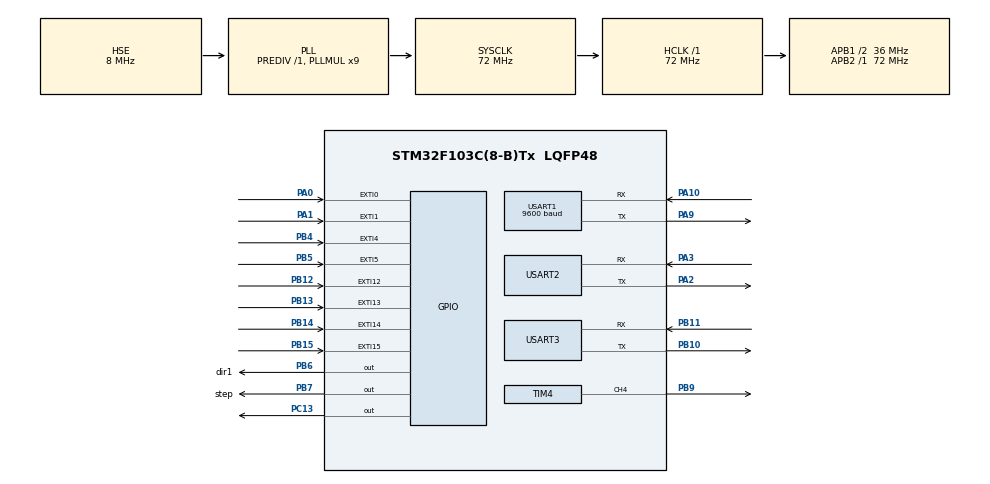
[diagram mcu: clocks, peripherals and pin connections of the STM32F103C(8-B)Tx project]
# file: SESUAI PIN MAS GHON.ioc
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Mcu.Family=STM32F1
Mcu.Name=STM32F103C(8-B)Tx
Mcu.Package=LQFP48
NVIC.EXTI0_IRQn=true\:0\:0\:false\:false\:true\:true\:true
NVIC.EXTI15_10_IRQn=true\:0\:0\:false\:false\:true\:true\:true
NVIC.EXTI1_IRQn=true\:0\:0\:false\:false\:true\:true\:true
NVIC.EXTI4_IRQn=true\:0\:0\:false\:false\:true\:true\:true
NVIC.EXTI9_5_IRQn=true\:0\:0\:false\:false\:true\:true\:true
NVIC.FLASH_IRQn=true\:0\:0\:false\:false\:true\:true\:true
NVIC.PriorityGroup=NVIC_PRIORITYGROUP_4
NVIC.RCC_IRQn=true\:0\:0\:false\:false\:true\:true\:false
NVIC.TIM2_IRQn=true\:0\:0\:false\:false\:true\:true\:true
NVIC.TIM4_IRQn=true\:0\:0\:false\:false\:true\:true\:true
NVIC.USART1_IRQn=true\:0\:0\:false\:false\:true\:true\:true
NVIC.USART2_IRQn=true\:0\:0\:false\:false\:true\:true\:true
NVIC.USART3_IRQn=true\:0\:0\:false\:false\:true\:true\:true
PA0-WKUP.Signal=GPXTI0
PA1.Signal=GPXTI1
PA10.Mode=Asynchronous
PA10.Signal=USART1_RX
PA13.Mode=Serial_Wire
PA13.Signal=SYS_JTMS-SWDIO
PA14.Mode=Serial_Wire
PA14.Signal=SYS_JTCK-SWCLK
PA2.Mode=Asynchronous
PA2.Signal=USART2_TX
PA3.Mode=Asynchronous
PA3.Signal=USART2_RX
PA9.Mode=Asynchronous
PA9.Signal=USART1_TX
PB10.Mode=Asynchronous
PB10.Signal=USART3_TX
PB11.Mode=Asynchronous
PB11.Signal=USART3_RX
PB12.Signal=GPXTI12
PB13.Signal=GPXTI13
PB14.Signal=GPXTI14
PB15.Signal=GPXTI15
PB4.Signal=GPXTI4
PB5.Signal=GPXTI5
PB6.GPIO_Label=dir1
PB6.Signal=GPIO_Output
PB7.GPIO_Label=step
PB7.Signal=GPIO_Output
PB9.Signal=S_TIM4_CH4
PC13-TAMPER-RTC.Signal=GPIO_Output
PD0-OSC_IN.Mode=HSE-External-Oscillator
PD0-OSC_IN.Signal=RCC_OSC_IN
PD1-OSC_OUT.Mode=HSE-External-Oscillator
PD1-OSC_OUT.Signal=RCC_OSC_OUT
ProjectManager.HeapSize=0x200
ProjectManager.StackSize=0x400
ProjectManager.TargetToolchain=MDK-ARM V5.27
RCC.AHBFreq_Value=72000000
RCC.APB1CLKDivider=RCC_HCLK_DIV2
RCC.APB1Freq_Value=36000000
RCC.APB1TimFreq_Value=72000000
RCC.APB2Freq_Value=72000000
RCC.APB2TimFreq_Value=72000000
RCC.HCLKFreq_Value=72000000
RCC.PLLMUL=RCC_PLL_MUL9
RCC.PLLSourceVirtual=RCC_PLLSOURCE_HSE
RCC.SYSCLKFreq_VALUE=72000000
RCC.SYSCLKSource=RCC_SYSCLKSOURCE_PLLCLK
RCC.USBFreq_Value=72000000
SH.S_TIM4_CH4.0=TIM4_CH4,PWM Generation4 CH4
TIM2.Period=999
TIM2.Prescaler=71
TIM4.Channel-PWM\ Generation4\ CH4=TIM_CHANNEL_4
TIM4.Period=999
TIM4.Prescaler=71
USART1.BaudRate=9600
USART1.VirtualMode=VM_ASYNC
USART2.VirtualMode=VM_ASYNC
USART3.VirtualMode=VM_ASYNC
VP_TIM2_VS_ClockSourceINT.Mode=Internal
VP_TIM4_VS_ClockSourceINT.Mode=Internal
board=custom

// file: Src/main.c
/* USER CODE BEGIN Header */
/**
  ******************************************************************************
  * @file           : main.c
  * @brief          : Main program body
	// semua hitungna dalam satuan cm!!!
  ******************************************************************************
  * @attention
  *
  * <h2><center>&copy; Copyright (c) 2020 STMicroelectronics.
  * All rights reserved.</center></h2>
  *
  * This software component is licensed by ST under BSD 3-Clause license,
  * the "License"; You may not use this file except in compliance with the
  * License. You may obtain a copy of the License at:
  *                        opensource.org/licenses/BSD-3-Clause
  *
  ******************************************************************************
  */
/* USER CODE END Header */

#include "main.h"
#include <math.h>
#include <stdio.h>

/* USER CODE BEGIN PTD */
volatile uint8_t  nilaiEnco1A_sebelum, nilaiEnco1B_sebelum,
									    nilaiEnco2A_sebelum, nilaiEnco2B_sebelum,
											nilaiEnco3A_sebelum, nilaiEnco3B_sebelum,
									    nilaiEnco4A_sebelum, nilaiEnco4B_sebelum;

uint8_t nilaiEnco1A, nilaiEnco1B, encInc1, encDec1,
					 nilaiEnco2A, nilaiEnco2B, encInc2, encDec2,
					 nilaiEnco3A, nilaiEnco3B, encInc3, encDec3,
					 nilaiEnco4A, nilaiEnco4B, encInc4, encDec4;

uint32_t lastTime, state, stateCounter;

uint8_t terimaUART1, terimaUART2, terimaUART3;

int enc_1, enc_2, enc_3, enc_4;
int oldEnc1, oldEnc2, oldEnc3, oldEnc4, newEnc1, newEnc2, newEnc3, newEnc4;

char ter, btn[2], char_terima;
int cnt, button;

//Variable PID
static uint8_t setPoin = 255;
static float kp = 1;
static float ki = 0;
static float	kd = 0;
float error[4], lastError[4], cumError[4], rateError[4], maxrpm = 300.00, minrpm = -300.00;
float gain, inputPID[4], u[4];

#define tick 548
#define wheel  15 							//50mm
#define TtoCM  (3.14159265*wheel)/tick
#define RtoD   57.2958
#define R_body 27.25
#define Rroda 0.0725 //meter

char buf[50];
int send[4];

char dataKirim[8];
int a,b,c;
float w[4], v[4];
int rpm[4];
unsigned int jarakRAW[4];
char flag_send=0;

char ter1, jadwal,Data3[2],Data4[2], char_terima1;
int count1, data16_bit1, dataImu[2];

float Xbody,Ybody,degree, radian, perpindahan;
float Xactual,Yactual;

uint8_t didik = 0; //cobacoba

//data untuk di kirim lewat UART
uint8_t rpmKirim [4];
/* USER CODE END PTD */

TIM_HandleTypeDef htim2;
TIM_HandleTypeDef htim4;

UART_HandleTypeDef huart1;
UART_HandleTypeDef huart2;
UART_HandleTypeDef huart3;

void SystemClock_Config(void);
static void MX_GPIO_Init(void);
static void MX_TIM4_Init(void);
static void MX_USART1_UART_Init(void);
static void MX_USART2_UART_Init(void);
static void MX_TIM2_Init(void);
static void MX_USART3_UART_Init(void);

void updateDataEncoder1(void);
void updateDataEncoder2(void);
void updateDataEncoder3(void);
void updateDataEncoder4(void);

void stepper(int posisi); //nilai + untuk cw dan - untuk ccw

void dataLama(void);
void dataBaru(void);

void hitungPosisi(void);
void hitungRPM(void);
void hitungKecepatanAngular(void);
void hitungKecepatanLinier(void);

void kirimUART(int uart, uint8_t data1); //uart n, data yang dikirm

void setPWM4(int pwm4);
void motor4(int speed4);

void hitungPID(void);

void perubahanNIlai(void);

int main(void)
{

  /* MCU Configuration--------------------------------------------------------*/

  /* Reset of all peripherals, Initializes the Flash interface and the Systick. */
  HAL_Init();

  /* Configure the system clock */
  SystemClock_Config();

  /* Initialize all configured peripherals */
  MX_GPIO_Init();
  MX_TIM4_Init();
  MX_USART1_UART_Init();
  MX_USART2_UART_Init();
  MX_TIM2_Init();
  MX_USART3_UART_Init();
		__HAL_UART_ENABLE_IT(&huart1, UART_IT_RXNE); //enable receive uart1 interupt
	__HAL_UART_ENABLE_IT(&huart2, UART_IT_RXNE); //enable receive uart2 interupt
	__HAL_UART_ENABLE_IT(&huart3, UART_IT_RXNE); //enable receive uart3 interupt
HAL_TIM_PWM_Start(&htim4, TIM_CHANNEL_4);

  /* Infinite loop */
  while (1)
  {
switch (state) {

			case 0 :  //pass
				break;

			case 1 : dataLama(); break; //get data u-2 encoder

			case 2 : //pass
				break;

			case 3 : dataBaru(); break; //get u encoder data

			case 4 : //calculate everything yoou need

									hitungRPM();
									hitungPosisi();
									hitungKecepatanAngular();
									hitungKecepatanLinier();
									motor4(didik);

				break;

			case 5 : //pass
				break;

			case 6 : kirimUART(1, didik); break; // @param : kirimUART(uart berapa, data yg dikirm)

			case 7 :
				break;

			case 8 : kirimUART(2, didik); break; // @param : kirimUART(uart berapa, data yg dikirm)

			case 9 : //pass
				break;

			case 10 : kirimUART(3, didik); break; // @param : kirimUART(uart berapa, data yg dikirm)

		}

  }
}

//Pergitungan
void dataLama(void) {
				oldEnc1 = enc_1;
				oldEnc2 = enc_2;
				oldEnc3 = enc_3;
				oldEnc4 = enc_4;
}

void dataBaru(void) {

				newEnc1 = enc_1 - oldEnc1;
				newEnc2 = enc_2 - oldEnc2;
				newEnc3 = enc_3 - oldEnc3;
				newEnc4 = enc_4 - oldEnc4;
}

void hitungPosisi(void) {
	Xbody = ((enc_1*TtoCM + enc_3*TtoCM)/2);

	Ybody = ((enc_2*TtoCM + enc_4*TtoCM)/2);

	perpindahan = (sqrt(Xbody*Xbody + Ybody*Ybody));

	radian = ((Xbody + Ybody)/(2*R_body));

	Xactual = (Xbody*cos(radian) + Ybody*sin(radian));
	Yactual = (Ybody*cos(radian) - Xbody*sin(radian));
}

void hitungRPM(void) {

	/*rpm = rotation per minute ;
		1 rotation = 548 pulses
		time sampling = 2ms
		rpm = pulses * 1000 * 60 / 2 / 548
		rpm = pulses * 54.7445
	*/

											rpm[0] = newEnc1 * 54.7445;
											rpm[1] = newEnc2 * 54.7445;
											rpm[2] = newEnc3 * 54.7445;
											rpm[3] = newEnc4 * 54.7445;
		}

void hitungKecepatanAngular(void) {
	/* w = omega
			w = delta sudut / waktu
			delta sudut = newEnc * 1.52222  // 538/360 = 1.522222222222
	*/
	w[0] = newEnc1 * 1.52222222;
	w[1] = newEnc2 * 1.52222222;
	w[2] = newEnc3 * 1.52222222;
	w[3] = newEnc4 * 1.52222222;
}

void hitungKecepatanLinier(void) {
	// w = v / r ==> v = w * r &&  diameter roda = 15 cm
	v[0] = w[0] * 7.5;
	v[1] = w[1] * 7.5;
	v[2] = w[2] * 7.5;
	v[3] = w[3] * 7.5;

}

void hitungPID(void) {

	//PID motor 1-4
	for (int i = 0; i<4; i++) {
	error[i] =  (float) inputPID[i] - rpm[i]; //get error ... setPoin di ganti inputrpm kalau algo
	cumError[i] += error[i]; //integral
	rateError[i] = error[i] - lastError[i]; //derivatif
	lastError[i] = error[i];
	u[i] = (kp * error[i]) + (ki * cumError[i]) + (kd * rateError[i]);
}
}

void perubahanNilai(void) {
	//perubahan variable rpm untuk di kirim
	rpmKirim[0] = (uint8_t) rpm[0];
	rpmKirim[1] = (uint8_t) rpm[1];
	rpmKirim[2] = (uint8_t) rpm[2];
	rpmKirim[3] = (uint8_t) rpm[3];

}

//action
void stepper(int posisi) {
	if(posisi < 0) { //ccw
					posisi *= -1; //agar positif
					HAL_GPIO_WritePin(dir1_GPIO_Port, dir1_Pin, GPIO_PIN_SET); //dir1
					}
	else if (posisi >= 0) { //cw
					//posisi sudah positif
					HAL_GPIO_WritePin(dir1_GPIO_Port, dir1_Pin, GPIO_PIN_SET); //dir1
					}
	for(int i=1;i<=posisi;i++){  //Moving stepper motor forward
			HAL_GPIO_WritePin(step_GPIO_Port, step_Pin, GPIO_PIN_SET);
			HAL_Delay(50);
			HAL_GPIO_WritePin(step_GPIO_Port, step_Pin, GPIO_PIN_RESET);
			HAL_Delay(50);
						}
}

void kirimUART(int uart, uint8_t data) {
	if (uart == 1) HAL_UART_Transmit_IT(&huart1, &data, sizeof(data));
	else if (uart == 2) HAL_UART_Transmit_IT(&huart2, &data, sizeof(data));
	else if (uart == 3) HAL_UART_Transmit_IT(&huart3, &data, sizeof(data));
	else { //pass
	}
}

void USART1_IRQHandler(void)
{
  HAL_UART_IRQHandler(&huart1);
  /* USER CODE BEGIN USART2_IRQn 1 */
	HAL_UART_Receive_IT(&huart1, &terimaUART1, sizeof(terimaUART1));
  /* USER CODE END USART2_IRQn 1 */
}

void USART2_IRQHandler(void)
{
  HAL_UART_IRQHandler(&huart2);
  /* USER CODE BEGIN USART2_IRQn 1 */
	HAL_UART_Receive_IT(&huart2, &terimaUART2, sizeof(terimaUART2));
  /* USER CODE END USART2_IRQn 1 */
}

void USART3_IRQHandler(void)
{
  HAL_UART_IRQHandler(&huart2);
  /* USER CODE BEGIN USART2_IRQn 1 */
	HAL_UART_Receive_IT(&huart3, &terimaUART3, sizeof(terimaUART3));
  /* USER CODE END USART2_IRQn 1 */
}

void TIM2_IRQHandler(void)
{

  HAL_TIM_IRQHandler(&htim2);

		}

void updateDataEncoder1(void) {

		nilaiEnco1A = (uint8_t) ((GPIOB->IDR & GPIO_PIN_12) >> 12);
		nilaiEnco1B = (uint8_t) ((GPIOB->IDR & GPIO_PIN_13) >> 13);

		encInc1 = nilaiEnco1A ^ nilaiEnco1B_sebelum;
		encDec1 = nilaiEnco1B ^ nilaiEnco1A_sebelum;

		if(encInc1){
			enc_1--;
			jarakRAW[0]++;
		}
		if(encDec1){
			enc_1++;
			jarakRAW[0]++;
		}

		nilaiEnco1A_sebelum = nilaiEnco1A;
		nilaiEnco1B_sebelum = nilaiEnco1B;
}

void updateDataEncoder2(void) {

		nilaiEnco2A = (uint8_t) ((GPIOB->IDR & GPIO_PIN_14) >> 14);
		nilaiEnco2B = (uint8_t) ((GPIOB->IDR & GPIO_PIN_15) >> 15);

		encInc2 = nilaiEnco2A ^ nilaiEnco2B_sebelum;
		encDec2 = nilaiEnco2B ^ nilaiEnco2A_sebelum;

		if(encInc2){
			enc_2--;
			jarakRAW[1]++;
		}
		if(encDec2){
			enc_2++;
			jarakRAW[1]++;
		}

		nilaiEnco2A_sebelum = nilaiEnco2A;
		nilaiEnco2B_sebelum = nilaiEnco2B;
}

void updateDataEncoder3(void) {

		nilaiEnco3A = (uint8_t) ((GPIOA->IDR & GPIO_PIN_1) >> 1);
		nilaiEnco3B = (uint8_t) ((GPIOA->IDR & GPIO_PIN_0) >> 0);

		encInc3 = nilaiEnco3A ^ nilaiEnco3B_sebelum;
		encDec3 = nilaiEnco2B ^ nilaiEnco3A_sebelum;

		if(encInc3){
			enc_3--;
			jarakRAW[2]++;
		}
		if(encDec3){
			enc_3++;
			jarakRAW[1]++;
		}

		nilaiEnco3A_sebelum = nilaiEnco3A;
		nilaiEnco3B_sebelum = nilaiEnco3B;
}

void updateDataEncoder4(void) {

		nilaiEnco4A = (uint8_t) ((GPIOB->IDR & GPIO_PIN_5) >> 5);
		nilaiEnco4B = (uint8_t) ((GPIOB->IDR & GPIO_PIN_4) >> 4);

		encInc4 = nilaiEnco4A ^ nilaiEnco4B_sebelum;
		encDec4 = nilaiEnco4B ^ nilaiEnco4A_sebelum;

		if(encInc4){
			enc_4--;
			jarakRAW[3]++;
		}
		if(encDec4){
			enc_4++;
			jarakRAW[3]++;
		}
		nilaiEnco4A_sebelum = nilaiEnco4A;
		nilaiEnco4B_sebelum = nilaiEnco4B;
}

void EXTI0_IRQHandler(void)
{
  HAL_GPIO_EXTI_IRQHandler(GPIO_PIN_0);
  /* USER CODE BEGIN EXTI0_IRQn 1 */
		updateDataEncoder3();
  /* USER CODE END EXTI0_IRQn 1 */
}

void EXTI1_IRQHandler(void)
{
  HAL_GPIO_EXTI_IRQHandler(GPIO_PIN_1);
  /* USER CODE BEGIN EXTI1_IRQn 1 */
		updateDataEncoder3();
  /* USER CODE END EXTI1_IRQn 1 */
}

void EXTI4_IRQHandler(void)
{
  HAL_GPIO_EXTI_IRQHandler(GPIO_PIN_4);
  /* USER CODE BEGIN EXTI4_IRQn 1 */
		updateDataEncoder4();
  /* USER CODE END EXTI4_IRQn 1 */
}

void EXTI9_5_IRQHandler(void)
{
  HAL_GPIO_EXTI_IRQHandler(GPIO_PIN_5);
  /* USER CODE BEGIN EXTI9_5_IRQn 1 */
		updateDataEncoder4();
  /* USER CODE END EXTI9_5_IRQn 1 */
}

void EXTI15_10_IRQHandler(void)
{
  HAL_GPIO_EXTI_IRQHandler(GPIO_PIN_12);
  HAL_GPIO_EXTI_IRQHandler(GPIO_PIN_13);
  HAL_GPIO_EXTI_IRQHandler(GPIO_PIN_14);
  HAL_GPIO_EXTI_IRQHandler(GPIO_PIN_15);
  /* USER CODE BEGIN EXTI15_10_IRQn 1 */
		updateDataEncoder1();
		updateDataEncoder2();
  /* USER CODE END EXTI15_10_IRQn 1 */
}

void setPWM4(int pwm4){
  TIM_OC_InitTypeDef sConfigOC;

	sConfigOC.OCMode = TIM_OCMODE_PWM1;
  sConfigOC.Pulse = pwm4;
  sConfigOC.OCPolarity = TIM_OCPOLARITY_HIGH;
  sConfigOC.OCFastMode = TIM_OCFAST_DISABLE;
	HAL_TIM_PWM_ConfigChannel(&htim4, &sConfigOC, TIM_CHANNEL_4);
	HAL_TIM_PWM_Start(&htim4, TIM_CHANNEL_3);
  }

//motor4
void motor4(speed4){
  if (speed4>0){ //maju
        //HAL_GPIO_WritePin(MIN1D_GPIO_Port,MIN1D_Pin,1);
        //HAL_GPIO_WritePin(MIN2D_GPIO_Port,MIN2D_Pin,0);
        setPWM4(speed4);
  }
  else if(speed4<0){ //mundur
        //HAL_GPIO_WritePin(MIN1D_GPIO_Port,MIN1D_Pin,0);
        //HAL_GPIO_WritePin(MIN2D_GPIO_Port,MIN2D_Pin,1);
        setPWM4(speed4*-1);
  }
  else
  {
    //null
  }

}

void SystemClock_Config(void)
{
  RCC_OscInitTypeDef RCC_OscInitStruct = {0};
  RCC_ClkInitTypeDef RCC_ClkInitStruct = {0};

  /** Initializes the CPU, AHB and APB busses clocks
  */
  RCC_OscInitStruct.OscillatorType = RCC_OSCILLATORTYPE_HSE;
  RCC_OscInitStruct.HSEState = RCC_HSE_ON;
  RCC_OscInitStruct.HSEPredivValue = RCC_HSE_PREDIV_DIV1;
  RCC_OscInitStruct.HSIState = RCC_HSI_ON;
  RCC_OscInitStruct.PLL.PLLState = RCC_PLL_ON;
  RCC_OscInitStruct.PLL.PLLSource = RCC_PLLSOURCE_HSE;
  RCC_OscInitStruct.PLL.PLLMUL = RCC_PLL_MUL9;
  if (HAL_RCC_OscConfig(&RCC_OscInitStruct) != HAL_OK)
  {
    Error_Handler();
  }
  /** Initializes the CPU, AHB and APB busses clocks
  */
  RCC_ClkInitStruct.ClockType = RCC_CLOCKTYPE_HCLK|RCC_CLOCKTYPE_SYSCLK
                              |RCC_CLOCKTYPE_PCLK1|RCC_CLOCKTYPE_PCLK2;
  RCC_ClkInitStruct.SYSCLKSource = RCC_SYSCLKSOURCE_PLLCLK;
  RCC_ClkInitStruct.AHBCLKDivider = RCC_SYSCLK_DIV1;
  RCC_ClkInitStruct.APB1CLKDivider = RCC_HCLK_DIV2;
  RCC_ClkInitStruct.APB2CLKDivider = RCC_HCLK_DIV1;

  if (HAL_RCC_ClockConfig(&RCC_ClkInitStruct, FLASH_LATENCY_2) != HAL_OK)
  {
    Error_Handler();
  }
}

static void MX_TIM2_Init(void)
{

  TIM_ClockConfigTypeDef sClockSourceConfig = {0};
  TIM_MasterConfigTypeDef sMasterConfig = {0};

  htim2.Instance = TIM2;
  htim2.Init.Prescaler = 71;
  htim2.Init.CounterMode = TIM_COUNTERMODE_UP;
  htim2.Init.Period = 999;
  htim2.Init.ClockDivision = TIM_CLOCKDIVISION_DIV1;
  htim2.Init.AutoReloadPreload = TIM_AUTORELOAD_PRELOAD_DISABLE;
  if (HAL_TIM_Base_Init(&htim2) != HAL_OK)
  {
    Error_Handler();
  }
  sClockSourceConfig.ClockSource = TIM_CLOCKSOURCE_INTERNAL;
  if (HAL_TIM_ConfigClockSource(&htim2, &sClockSourceConfig) != HAL_OK)
  {
    Error_Handler();
  }
  sMasterConfig.MasterOutputTrigger = TIM_TRGO_RESET;
  sMasterConfig.MasterSlaveMode = TIM_MASTERSLAVEMODE_DISABLE;
  if (HAL_TIMEx_MasterConfigSynchronization(&htim2, &sMasterConfig) != HAL_OK)
  {
    Error_Handler();
  }

}

static void MX_TIM4_Init(void)
{

  TIM_ClockConfigTypeDef sClockSourceConfig = {0};
  TIM_MasterConfigTypeDef sMasterConfig = {0};
  TIM_OC_InitTypeDef sConfigOC = {0};

  htim4.Instance = TIM4;
  htim4.Init.Prescaler = 71;
  htim4.Init.CounterMode = TIM_COUNTERMODE_UP;
  htim4.Init.Period = 999;
  htim4.Init.ClockDivision = TIM_CLOCKDIVISION_DIV1;
  htim4.Init.AutoReloadPreload = TIM_AUTORELOAD_PRELOAD_DISABLE;
  if (HAL_TIM_Base_Init(&htim4) != HAL_OK)
  {
    Error_Handler();
  }
  sClockSourceConfig.ClockSource = TIM_CLOCKSOURCE_INTERNAL;
  if (HAL_TIM_ConfigClockSource(&htim4, &sClockSourceConfig) != HAL_OK)
  {
    Error_Handler();
  }
  if (HAL_TIM_PWM_Init(&htim4) != HAL_OK)
  {
    Error_Handler();
  }
  sMasterConfig.MasterOutputTrigger = TIM_TRGO_RESET;
  sMasterConfig.MasterSlaveMode = TIM_MASTERSLAVEMODE_DISABLE;
  if (HAL_TIMEx_MasterConfigSynchronization(&htim4, &sMasterConfig) != HAL_OK)
  {
    Error_Handler();
  }
  sConfigOC.OCMode = TIM_OCMODE_PWM1;
  sConfigOC.Pulse = 0;
  sConfigOC.OCPolarity = TIM_OCPOLARITY_HIGH;
  sConfigOC.OCFastMode = TIM_OCFAST_DISABLE;
  if (HAL_TIM_PWM_ConfigChannel(&htim4, &sConfigOC, TIM_CHANNEL_4) != HAL_OK)
  {
    Error_Handler();
  }
  HAL_TIM_MspPostInit(&htim4);

}

static void MX_USART1_UART_Init(void)
{

  huart1.Instance = USART1;
  huart1.Init.BaudRate = 9600;
  huart1.Init.WordLength = UART_WORDLENGTH_8B;
  huart1.Init.StopBits = UART_STOPBITS_1;
  huart1.Init.Parity = UART_PARITY_NONE;
  huart1.Init.Mode = UART_MODE_TX_RX;
  huart1.Init.HwFlowCtl = UART_HWCONTROL_NONE;
  huart1.Init.OverSampling = UART_OVERSAMPLING_16;
  if (HAL_UART_Init(&huart1) != HAL_OK)
  {
    Error_Handler();
  }

}

static void MX_USART2_UART_Init(void)
{

  huart2.Instance = USART2;
  huart2.Init.BaudRate = 115200;
  huart2.Init.WordLength = UART_WORDLENGTH_8B;
  huart2.Init.StopBits = UART_STOPBITS_1;
  huart2.Init.Parity = UART_PARITY_NONE;
  huart2.Init.Mode = UART_MODE_TX_RX;
  huart2.Init.HwFlowCtl = UART_HWCONTROL_NONE;
  huart2.Init.OverSampling = UART_OVERSAMPLING_16;
  if (HAL_UART_Init(&huart2) != HAL_OK)
  {
    Error_Handler();
  }

}

static void MX_USART3_UART_Init(void)
{

  huart3.Instance = USART3;
  huart3.Init.BaudRate = 115200;
  huart3.Init.WordLength = UART_WORDLENGTH_8B;
  huart3.Init.StopBits = UART_STOPBITS_1;
  huart3.Init.Parity = UART_PARITY_NONE;
  huart3.Init.Mode = UART_MODE_TX_RX;
  huart3.Init.HwFlowCtl = UART_HWCONTROL_NONE;
  huart3.Init.OverSampling = UART_OVERSAMPLING_16;
  if (HAL_UART_Init(&huart3) != HAL_OK)
  {
    Error_Handler();
  }

}

static void MX_GPIO_Init(void)
{
  GPIO_InitTypeDef GPIO_InitStruct = {0};

  /* GPIO Ports Clock Enable */
  __HAL_RCC_GPIOC_CLK_ENABLE();
  __HAL_RCC_GPIOD_CLK_ENABLE();
  __HAL_RCC_GPIOA_CLK_ENABLE();
  __HAL_RCC_GPIOB_CLK_ENABLE();

  /*Configure GPIO pin Output Level */
  HAL_GPIO_WritePin(GPIOC, GPIO_PIN_13, GPIO_PIN_RESET);

  /*Configure GPIO pin Output Level */
  HAL_GPIO_WritePin(GPIOB, dir1_Pin|step_Pin, GPIO_PIN_RESET);

  /*Configure GPIO pin : PC13 */
  GPIO_InitStruct.Pin = GPIO_PIN_13;
  GPIO_InitStruct.Mode = GPIO_MODE_OUTPUT_PP;
  GPIO_InitStruct.Pull = GPIO_NOPULL;
  GPIO_InitStruct.Speed = GPIO_SPEED_FREQ_LOW;
  HAL_GPIO_Init(GPIOC, &GPIO_InitStruct);

  /*Configure GPIO pins : PA0 PA1 */
  GPIO_InitStruct.Pin = GPIO_PIN_0|GPIO_PIN_1;
  GPIO_InitStruct.Mode = GPIO_MODE_IT_RISING;
  GPIO_InitStruct.Pull = GPIO_NOPULL;
  HAL_GPIO_Init(GPIOA, &GPIO_InitStruct);

  /*Configure GPIO pins : PB12 PB13 PB14 PB15
                           PB4 PB5 */
  GPIO_InitStruct.Pin = GPIO_PIN_12|GPIO_PIN_13|GPIO_PIN_14|GPIO_PIN_15
                          |GPIO_PIN_4|GPIO_PIN_5;
  GPIO_InitStruct.Mode = GPIO_MODE_IT_RISING;
  GPIO_InitStruct.Pull = GPIO_NOPULL;
  HAL_GPIO_Init(GPIOB, &GPIO_InitStruct);

  /*Configure GPIO pins : dir1_Pin step_Pin */
  GPIO_InitStruct.Pin = dir1_Pin|step_Pin;
  GPIO_InitStruct.Mode = GPIO_MODE_OUTPUT_PP;
  GPIO_InitStruct.Pull = GPIO_NOPULL;
  GPIO_InitStruct.Speed = GPIO_SPEED_FREQ_LOW;
  HAL_GPIO_Init(GPIOB, &GPIO_InitStruct);

  /* EXTI interrupt init*/
  HAL_NVIC_SetPriority(EXTI0_IRQn, 0, 0);
  HAL_NVIC_EnableIRQ(EXTI0_IRQn);

  HAL_NVIC_SetPriority(EXTI1_IRQn, 0, 0);
  HAL_NVIC_EnableIRQ(EXTI1_IRQn);

  HAL_NVIC_SetPriority(EXTI4_IRQn, 0, 0);
  HAL_NVIC_EnableIRQ(EXTI4_IRQn);

  HAL_NVIC_SetPriority(EXTI9_5_IRQn, 0, 0);
  HAL_NVIC_EnableIRQ(EXTI9_5_IRQn);

  HAL_NVIC_SetPriority(EXTI15_10_IRQn, 0, 0);
  HAL_NVIC_EnableIRQ(EXTI15_10_IRQn);

}

void Error_Handler(void)
{
}

/************************ (C) COPYRIGHT STMicroelectronics *****END OF FILE****/
